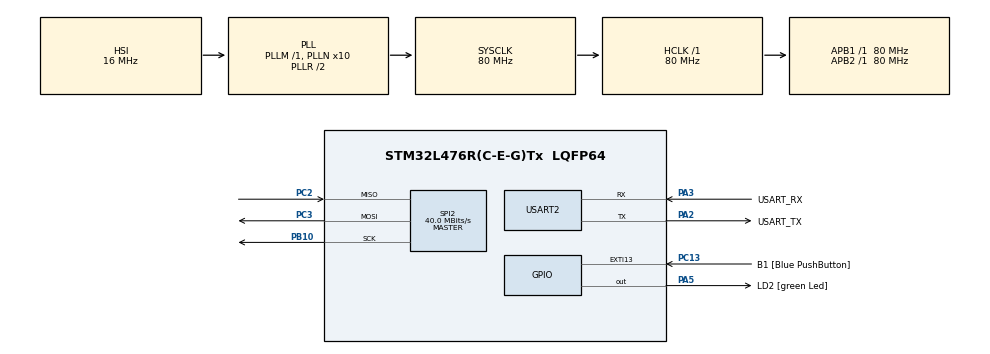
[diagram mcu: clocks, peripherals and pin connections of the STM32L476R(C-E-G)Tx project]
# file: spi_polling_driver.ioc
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Mcu.Family=STM32L4
Mcu.Name=STM32L476R(C-E-G)Tx
Mcu.Package=LQFP64
NVIC.PriorityGroup=NVIC_PRIORITYGROUP_4
PA13\ (JTMS-SWDIO).GPIO_Label=TMS
PA13\ (JTMS-SWDIO).Mode=Serial_Wire
PA13\ (JTMS-SWDIO).Signal=SYS_JTMS-SWDIO
PA14\ (JTCK-SWCLK).GPIO_Label=TCK
PA14\ (JTCK-SWCLK).Mode=Serial_Wire
PA14\ (JTCK-SWCLK).Signal=SYS_JTCK-SWCLK
PA2.GPIO_Label=USART_TX
PA2.GPIO_Mode=GPIO_MODE_AF_PP
PA2.GPIO_PuPd=GPIO_NOPULL
PA2.GPIO_Speed=GPIO_SPEED_FREQ_VERY_HIGH
PA2.Mode=Asynchronous
PA2.Signal=USART2_TX
PA3.GPIO_Label=USART_RX
PA3.GPIO_Mode=GPIO_MODE_AF_PP
PA3.GPIO_PuPd=GPIO_NOPULL
PA3.GPIO_Speed=GPIO_SPEED_FREQ_VERY_HIGH
PA3.Mode=Asynchronous
PA3.Signal=USART2_RX
PA5.GPIO_Label=LD2 [green Led]
PA5.GPIO_ModeDefaultOutputPP=GPIO_MODE_OUTPUT_PP
PA5.GPIO_PuPd=GPIO_NOPULL
PA5.GPIO_Speed=GPIO_SPEED_FREQ_LOW
PA5.Signal=GPIO_Output
PB10.Mode=Full_Duplex_Master
PB10.Signal=SPI2_SCK
PB3\ (JTDO-TRACESWO).GPIO_Label=SWO
PB3\ (JTDO-TRACESWO).Signal=SYS_JTDO-SWO
PC13.GPIO_Label=B1 [Blue PushButton]
PC13.GPIO_ModeDefaultEXTI=GPIO_MODE_IT_FALLING
PC13.GPIO_PuPd=GPIO_NOPULL
PC13.Signal=GPXTI13
PC14-OSC32_IN\ (PC14).Mode=LSE-External-Oscillator
PC14-OSC32_IN\ (PC14).Signal=RCC_OSC32_IN
PC15-OSC32_OUT\ (PC15).Mode=LSE-External-Oscillator
PC15-OSC32_OUT\ (PC15).Signal=RCC_OSC32_OUT
PC2.Mode=Full_Duplex_Master
PC2.Signal=SPI2_MISO
PC3.Mode=Full_Duplex_Master
PC3.Signal=SPI2_MOSI
PH0-OSC_IN\ (PH0).Signal=RCC_OSC_IN
PH1-OSC_OUT\ (PH1).Signal=RCC_OSC_OUT
ProjectManager.HeapSize=0x200
ProjectManager.StackSize=0x400
ProjectManager.TargetToolchain=STM32CubeIDE
RCC.ADCFreq_Value=64000000
RCC.AHBFreq_Value=80000000
RCC.APB1Freq_Value=80000000
RCC.APB1TimFreq_Value=80000000
RCC.APB2Freq_Value=80000000
RCC.APB2TimFreq_Value=80000000
RCC.CortexFreq_Value=80000000
RCC.HCLKFreq_Value=80000000
RCC.HSE_VALUE=8000000
RCC.HSI_VALUE=16000000
RCC.MSI_VALUE=4000000
RCC.PLLN=10
RCC.PLLSourceVirtual=RCC_PLLSOURCE_HSI
RCC.PREFETCH_ENABLE=1
RCC.SYSCLKFreq_VALUE=80000000
RCC.SYSCLKSource=RCC_SYSCLKSOURCE_PLLCLK
RCC.USBFreq_Value=64000000
RCC.VCOOutputFreq_Value=160000000
SPI2.CalculateBaudRate=40.0 MBits/s
SPI2.Direction=SPI_DIRECTION_2LINES
SPI2.Mode=SPI_MODE_MASTER
SPI2.VirtualType=VM_MASTER
USART2.VirtualMode-Asynchronous=VM_ASYNC
board=NUCLEO-L476RG

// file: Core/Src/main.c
/* USER CODE BEGIN Header */
/**
  ******************************************************************************
  * @file           : main.c
  * @brief          : Main program body
  ******************************************************************************
  * @attention
  *
  * Copyright (c) 2026 STMicroelectronics.
  * All rights reserved.
  *
  * This software is licensed under terms that can be found in the LICENSE file
  * in the root directory of this software component.
  * If no LICENSE file comes with this software, it is provided AS-IS.
  *
  ******************************************************************************
  */
/* USER CODE END Header */

#include "main.h"

/* USER CODE BEGIN Includes */
#include <stdio.h>
#include <string.h>
/* USER CODE END Includes */

/* USER CODE BEGIN PD */
#define TX_BUF_SIZE  1
#define RX_BUF_SIZE  1
/* USER CODE END PD */

SPI_HandleTypeDef hspi2;
UART_HandleTypeDef huart2;

/* USER CODE BEGIN PV */
uint8_t txData[TX_BUF_SIZE] = {0x55};
uint8_t rxData[RX_BUF_SIZE] = {0};
char msg[100];
/* USER CODE END PV */

void SystemClock_Config(void);
static void MX_GPIO_Init(void);
static void MX_USART2_UART_Init(void);
static void MX_SPI2_Init(void);

/* USER CODE BEGIN PFP */
void UART_Print(char *str);
/* USER CODE END PFP */

/* USER CODE BEGIN 0 */
void UART_Print(char *str)
{
  HAL_UART_Transmit(&huart2, (uint8_t *)str, strlen(str), HAL_MAX_DELAY);
}
/* USER CODE END 0 */

int main(void)
{

  /* MCU Configuration--------------------------------------------------------*/

  HAL_Init();
  SystemClock_Config();

  MX_GPIO_Init();
  MX_USART2_UART_Init();
  MX_SPI2_Init();

  /* USER CODE BEGIN 2 */
  UART_Print("=== SPI2 Polling Driver Test ===\r\n");
  UART_Print("Connect SPI2 MOSI and MISO for loopback test.\r\n");
  UART_Print("SPI2 TX -> sending one byte every 1 second\r\n\r\n");
  /* USER CODE END 2 */

  /* Infinite loop */
  while (1)
  {
    /* USER CODE BEGIN WHILE */

    rxData[0] = 0;

    /* SPI polling transmit-receive */
    if (HAL_SPI_TransmitReceive(&hspi2, txData, rxData, 1, HAL_MAX_DELAY) == HAL_OK)
    {
      sprintf(msg, "TX = 0x%02X   RX = 0x%02X\r\n", txData[0], rxData[0]);
      UART_Print(msg);

      HAL_GPIO_TogglePin(LD2_GPIO_Port, LD2_Pin);

      txData[0]++;   // next byte
    }
    else
    {
      UART_Print("SPI Transfer Failed\r\n");
    }

    HAL_Delay(1000);

    /* USER CODE END WHILE */

  }
}

void SystemClock_Config(void)
{
  RCC_OscInitTypeDef RCC_OscInitStruct = {0};
  RCC_ClkInitTypeDef RCC_ClkInitStruct = {0};

  if (HAL_PWREx_ControlVoltageScaling(PWR_REGULATOR_VOLTAGE_SCALE1) != HAL_OK)
  {
    Error_Handler();
  }

  RCC_OscInitStruct.OscillatorType = RCC_OSCILLATORTYPE_HSI;
  RCC_OscInitStruct.HSIState = RCC_HSI_ON;
  RCC_OscInitStruct.HSICalibrationValue = RCC_HSICALIBRATION_DEFAULT;
  RCC_OscInitStruct.PLL.PLLState = RCC_PLL_ON;
  RCC_OscInitStruct.PLL.PLLSource = RCC_PLLSOURCE_HSI;
  RCC_OscInitStruct.PLL.PLLM = 1;
  RCC_OscInitStruct.PLL.PLLN = 10;
  RCC_OscInitStruct.PLL.PLLP = RCC_PLLP_DIV7;
  RCC_OscInitStruct.PLL.PLLQ = RCC_PLLQ_DIV2;
  RCC_OscInitStruct.PLL.PLLR = RCC_PLLR_DIV2;

  if (HAL_RCC_OscConfig(&RCC_OscInitStruct) != HAL_OK)
  {
    Error_Handler();
  }

  RCC_ClkInitStruct.ClockType = RCC_CLOCKTYPE_HCLK |
                                RCC_CLOCKTYPE_SYSCLK |
                                RCC_CLOCKTYPE_PCLK1 |
                                RCC_CLOCKTYPE_PCLK2;
  RCC_ClkInitStruct.SYSCLKSource = RCC_SYSCLKSOURCE_PLLCLK;
  RCC_ClkInitStruct.AHBCLKDivider = RCC_SYSCLK_DIV1;
  RCC_ClkInitStruct.APB1CLKDivider = RCC_HCLK_DIV1;
  RCC_ClkInitStruct.APB2CLKDivider = RCC_HCLK_DIV1;

  if (HAL_RCC_ClockConfig(&RCC_ClkInitStruct, FLASH_LATENCY_4) != HAL_OK)
  {
    Error_Handler();
  }
}

static void MX_SPI2_Init(void)
{
  hspi2.Instance = SPI2;
  hspi2.Init.Mode = SPI_MODE_MASTER;
  hspi2.Init.Direction = SPI_DIRECTION_2LINES;
  hspi2.Init.DataSize = SPI_DATASIZE_8BIT;   // corrected
  hspi2.Init.CLKPolarity = SPI_POLARITY_LOW;
  hspi2.Init.CLKPhase = SPI_PHASE_1EDGE;
  hspi2.Init.NSS = SPI_NSS_SOFT;
  hspi2.Init.BaudRatePrescaler = SPI_BAUDRATEPRESCALER_16;
  hspi2.Init.FirstBit = SPI_FIRSTBIT_MSB;
  hspi2.Init.TIMode = SPI_TIMODE_DISABLE;
  hspi2.Init.CRCCalculation = SPI_CRCCALCULATION_DISABLE;
  hspi2.Init.CRCPolynomial = 7;
  hspi2.Init.CRCLength = SPI_CRC_LENGTH_DATASIZE;
  hspi2.Init.NSSPMode = SPI_NSS_PULSE_DISABLE;

  if (HAL_SPI_Init(&hspi2) != HAL_OK)
  {
    Error_Handler();
  }
}

static void MX_USART2_UART_Init(void)
{
  huart2.Instance = USART2;
  huart2.Init.BaudRate = 115200;
  huart2.Init.WordLength = UART_WORDLENGTH_8B;
  huart2.Init.StopBits = UART_STOPBITS_1;
  huart2.Init.Parity = UART_PARITY_NONE;
  huart2.Init.Mode = UART_MODE_TX_RX;
  huart2.Init.HwFlowCtl = UART_HWCONTROL_NONE;
  huart2.Init.OverSampling = UART_OVERSAMPLING_16;
  huart2.Init.OneBitSampling = UART_ONE_BIT_SAMPLE_DISABLE;
  huart2.AdvancedInit.AdvFeatureInit = UART_ADVFEATURE_NO_INIT;

  if (HAL_UART_Init(&huart2) != HAL_OK)
  {
    Error_Handler();
  }
}

static void MX_GPIO_Init(void)
{
  GPIO_InitTypeDef GPIO_InitStruct = {0};

  __HAL_RCC_GPIOC_CLK_ENABLE();
  __HAL_RCC_GPIOH_CLK_ENABLE();
  __HAL_RCC_GPIOA_CLK_ENABLE();
  __HAL_RCC_GPIOB_CLK_ENABLE();

  HAL_GPIO_WritePin(LD2_GPIO_Port, LD2_Pin, GPIO_PIN_RESET);

  GPIO_InitStruct.Pin = B1_Pin;
  GPIO_InitStruct.Mode = GPIO_MODE_IT_FALLING;
  GPIO_InitStruct.Pull = GPIO_NOPULL;
  HAL_GPIO_Init(B1_GPIO_Port, &GPIO_InitStruct);

  GPIO_InitStruct.Pin = LD2_Pin;
  GPIO_InitStruct.Mode = GPIO_MODE_OUTPUT_PP;
  GPIO_InitStruct.Pull = GPIO_NOPULL;
  GPIO_InitStruct.Speed = GPIO_SPEED_FREQ_LOW;
  HAL_GPIO_Init(LD2_GPIO_Port, &GPIO_InitStruct);
}

void Error_Handler(void)
{
  __disable_irq();
  while (1)
  {
    HAL_GPIO_TogglePin(LD2_GPIO_Port, LD2_Pin);
    HAL_Delay(200);
  }
}
